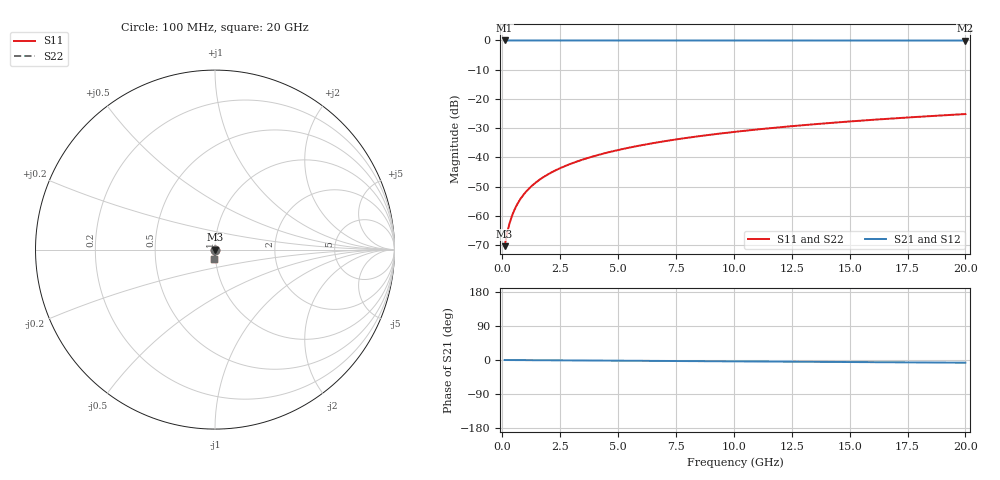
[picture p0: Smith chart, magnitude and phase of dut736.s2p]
! Touchstone file exported from HFSS 2026.1.0
!  File:  C:/ffzhzh/LocalFiles/Ansys_Project_Files/temp_train_TSV_736_1783182709_51560.aedt
!  Generated:  12:33:12 AM Jul  5, 2026
!  Design:  TSV
!  Project:  temp_train_TSV_736_1783182709_51560
! Variables:
!  h_bsmrdl = 2um
!  h_ox = 20um
!  h_rdl = 5um
!  h_sub = 69.16um
!  h_tmrdl = 5um
!  h_tsv = 69.16um
!  h_via = 3um
!  l_bsmrdl = 300um
!  l_sub = 413.8um
!  l_tmrdl = 200um
!  m_sub = 200um
!  pitch = 18.89um
!  r_tsv = 6.9um
!  s_tmrdl = 10um
!  w_bsmrdl = 18um
!  w_sub = 500um
!  w_tmrdl = 12um
!  x_tsv_center1 = 206um
!  x_tsv_center2 = 524um
!  x_tsv_center3 = 736um
!  x_tsv_center4 = 1054um
!  x_tsv_center5 = 1266um
!  x_tsv_center6 = 1584um
# GHz S MA R 50.000000
! Terminal data exported
! Port[1] = TSV1_1_T1
! Port[2] = TSV1_1_T2
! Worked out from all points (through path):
!   200 points, 100 MHz to 20 GHz, reference 50 ohm
!   highest |S21| = 0.00 dB at 100 MHz (marker M1); lowest = 0.0 dB at 20 GHz (marker M2)
!   lowest |S11| = -70.3 dB at 100 MHz (marker M3), VSWR 1.00, Z = 50 - j0.0212 ohm
!   |S11| at or under -10 dB: start of sweep to end of sweep
!   |S22| runs from -70.3 to -25.2 dB; largest |S21 - S12| = 3.2e-15
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0.1  0.0003039 -44.1  0.9998 -0.0  0.9998 -0.0  0.0003039 -44.1
! Gamma 0 0 0 0
! Port Impedance 50 0 50 0
0.2  0.0004937 -60.8  0.9998 -0.1  0.9998 -0.1  0.0004937 -60.8
0.3  0.0007159 -67.6  0.9997 -0.1  0.9997 -0.1  0.0007159 -67.6
0.4  0.0009555 -71.3  0.9997 -0.2  0.9997 -0.2  0.0009555 -71.3
0.5  0.001207 -73.7  0.9997 -0.2  0.9997 -0.2  0.001207 -73.7
0.6  0.001465 -75.5  0.9996 -0.2  0.9996 -0.2  0.001465 -75.5
0.8  0.001992 -78.0  0.9996 -0.3  0.9996 -0.3  0.001992 -78.0
1.1  0.002794 -80.6  0.9995 -0.4  0.9995 -0.4  0.002794 -80.6
1.3  0.00333 -81.7  0.9995 -0.5  0.9995 -0.5  0.00333 -81.7
1.5  0.003867 -82.7  0.9995 -0.6  0.9995 -0.6  0.003867 -82.7
1.8  0.004672 -83.7  0.9994 -0.7  0.9994 -0.7  0.004672 -83.7
2.1  0.005478 -84.5  0.9994 -0.8  0.9994 -0.8  0.005478 -84.5
2.7  0.007095 -85.6  0.9993 -1.0  0.9993 -1.0  0.007095 -85.6
3.5  0.009265 -86.6  0.9992 -1.3  0.9992 -1.3  0.009265 -86.6
4.2  0.01118 -87.3  0.9991 -1.5  0.9991 -1.5  0.01118 -87.3
5  0.01337 -87.9  0.999 -1.8  0.999 -1.8  0.01337 -87.9
6.8  0.01836 -89.1  0.9987 -2.5  0.9987 -2.5  0.01836 -89.1
8.3  0.02253 -89.9  0.9985 -3.0  0.9985 -3.0  0.02253 -89.9
10.1  0.02754 -90.9  0.9983 -3.6  0.9983 -3.6  0.02754 -90.9
13.4  0.03673 -92.4  0.9978 -4.8  0.9978 -4.8  0.03673 -92.4
16.7  0.04593 -93.8  0.9972 -6.0  0.9972 -6.0  0.04593 -93.9
20  0.05512 -95.2  0.9966 -7.1  0.9966 -7.1  0.05512 -95.2
